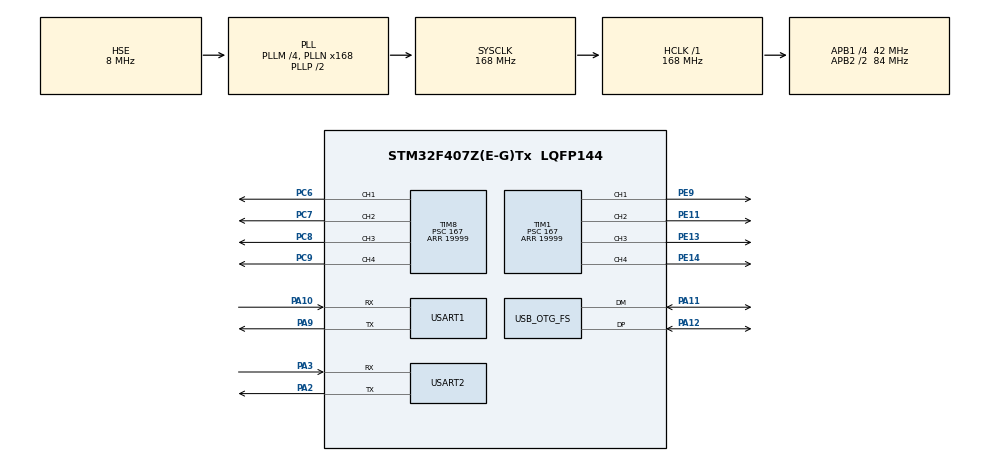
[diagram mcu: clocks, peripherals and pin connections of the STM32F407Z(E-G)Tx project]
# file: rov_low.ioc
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Mcu.Family=STM32F4
Mcu.Name=STM32F407Z(E-G)Tx
Mcu.Package=LQFP144
NVIC.OTG_FS_IRQn=true\:0\:0\:false\:false\:true\:false\:true\:true
NVIC.PriorityGroup=NVIC_PRIORITYGROUP_4
NVIC.TIM8_TRG_COM_TIM14_IRQn=true\:2\:0\:true\:false\:true\:true\:true\:true
NVIC.USART1_IRQn=true\:0\:0\:false\:false\:true\:true\:true\:true
NVIC.USART2_IRQn=true\:1\:0\:true\:false\:true\:true\:true\:true
PA10.Mode=Asynchronous
PA10.Signal=USART1_RX
PA11.Mode=Device_Only
PA11.Signal=USB_OTG_FS_DM
PA12.Mode=Device_Only
PA12.Signal=USB_OTG_FS_DP
PA13.Mode=Serial_Wire
PA13.Signal=SYS_JTMS-SWDIO
PA14.Mode=Serial_Wire
PA14.Signal=SYS_JTCK-SWCLK
PA2.Mode=Asynchronous
PA2.Signal=USART2_TX
PA3.Mode=Asynchronous
PA3.Signal=USART2_RX
PA9.Mode=Asynchronous
PA9.Signal=USART1_TX
PC14-OSC32_IN.Mode=LSE-External-Oscillator
PC14-OSC32_IN.Signal=RCC_OSC32_IN
PC15-OSC32_OUT.Mode=LSE-External-Oscillator
PC15-OSC32_OUT.Signal=RCC_OSC32_OUT
PC6.Signal=S_TIM8_CH1
PC7.Signal=S_TIM8_CH2
PC8.Signal=S_TIM8_CH3
PC9.Signal=S_TIM8_CH4
PE11.Signal=S_TIM1_CH2
PE13.Signal=S_TIM1_CH3
PE14.Signal=S_TIM1_CH4
PE9.Signal=S_TIM1_CH1
PH0-OSC_IN.Mode=HSE-External-Oscillator
PH0-OSC_IN.Signal=RCC_OSC_IN
PH1-OSC_OUT.Mode=HSE-External-Oscillator
PH1-OSC_OUT.Signal=RCC_OSC_OUT
ProjectManager.HeapSize=0x200
ProjectManager.StackSize=0x400
ProjectManager.TargetToolchain=MDK-ARM V5.32
RCC.48MHZClocksFreq_Value=48000000
RCC.AHBFreq_Value=168000000
RCC.APB1CLKDivider=RCC_HCLK_DIV4
RCC.APB1Freq_Value=42000000
RCC.APB1TimFreq_Value=84000000
RCC.APB2CLKDivider=RCC_HCLK_DIV2
RCC.APB2Freq_Value=84000000
RCC.APB2TimFreq_Value=168000000
RCC.CortexFreq_Value=168000000
RCC.HCLKFreq_Value=168000000
RCC.HSE_VALUE=8000000
RCC.HSI_VALUE=16000000
RCC.PLLM=4
RCC.PLLN=168
RCC.PLLQ=7
RCC.PLLSourceVirtual=RCC_PLLSOURCE_HSE
RCC.SYSCLKFreq_VALUE=168000000
RCC.SYSCLKSource=RCC_SYSCLKSOURCE_PLLCLK
RCC.VCOOutputFreq_Value=336000000
SH.S_TIM1_CH1.0=TIM1_CH1,PWM Generation1 CH1
SH.S_TIM1_CH2.0=TIM1_CH2,PWM Generation2 CH2
SH.S_TIM1_CH3.0=TIM1_CH3,PWM Generation3 CH3
SH.S_TIM1_CH4.0=TIM1_CH4,PWM Generation4 CH4
SH.S_TIM8_CH1.0=TIM8_CH1,PWM Generation1 CH1
SH.S_TIM8_CH2.0=TIM8_CH2,PWM Generation2 CH2
SH.S_TIM8_CH3.0=TIM8_CH3,PWM Generation3 CH3
SH.S_TIM8_CH4.0=TIM8_CH4,PWM Generation4 CH4
TIM1.Channel-PWM\ Generation1\ CH1=TIM_CHANNEL_1
TIM1.Channel-PWM\ Generation2\ CH2=TIM_CHANNEL_2
TIM1.Channel-PWM\ Generation3\ CH3=TIM_CHANNEL_3
TIM1.Channel-PWM\ Generation4\ CH4=TIM_CHANNEL_4
TIM1.Period=19999
TIM1.Prescaler=167
TIM14.Channel=TIM_CHANNEL_1
TIM14.Period=1000-1
TIM14.Prescaler=840-1
TIM6.Period=4999
TIM6.Prescaler=167
TIM8.Channel-PWM\ Generation1\ CH1=TIM_CHANNEL_1
TIM8.Channel-PWM\ Generation2\ CH2=TIM_CHANNEL_2
TIM8.Channel-PWM\ Generation3\ CH3=TIM_CHANNEL_3
TIM8.Channel-PWM\ Generation4\ CH4=TIM_CHANNEL_4
TIM8.Period=19999
TIM8.Prescaler=167
USART1.VirtualMode=VM_ASYNC
USART2.VirtualMode=VM_ASYNC
USB_DEVICE.CLASS_NAME_FS=CDC
USB_DEVICE.VirtualMode-CDC_FS=Cdc
USB_DEVICE.VirtualModeFS=Cdc_FS
USB_OTG_FS.VirtualMode=Device_Only
VP_TIM14_VS_ClockSourceINT.Mode=Enable_Timer
VP_TIM14_VS_no_output1.Mode=Output Compare1 No Output
VP_TIM6_VS_ClockSourceINT.Mode=Enable_Timer
VP_USB_DEVICE_VS_USB_DEVICE_CDC_FS.Mode=CDC_FS
board=custom

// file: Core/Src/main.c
/* USER CODE BEGIN Header */
/**
  ******************************************************************************
  * @file           : main.c
  * @brief          : Main program body
  ******************************************************************************
  * @attention
  *
  * Copyright (c) 2026 STMicroelectronics.
  * All rights reserved.
  *
  * This software is licensed under terms that can be found in the LICENSE file
  * in the root directory of this software component.
  * If no LICENSE file comes with this software, it is provided AS-IS.
  *
  ******************************************************************************
  */
/* USER CODE END Header */
#include "main.h"
#include "tim.h"
#include "usart.h"
#include "usb_device.h"
#include "gpio.h"

/* USER CODE BEGIN Includes */
#include "HWTAPP.h"
#include "pwm.h"
#include "communication.h"
/* USER CODE END Includes */

/* USER CODE BEGIN PV */
extern uint16_t vertPWM[4];
/* USER CODE END PV */

void SystemClock_Config(void);

int main(void)
{

  /* MCU Configuration--------------------------------------------------------*/

  /* Reset of all peripherals, Initializes the Flash interface and the Systick. */
  HAL_Init();

  /* Configure the system clock */
  SystemClock_Config();

  /* Initialize all configured peripherals */
  MX_GPIO_Init();
  MX_USART2_UART_Init();
  MX_USART1_UART_Init();
  MX_TIM14_Init();
  MX_USB_DEVICE_Init();
  MX_TIM1_Init();
  MX_TIM6_Init();
  MX_TIM8_Init();
  /* USER CODE BEGIN 2 */
  HWT_Init();
  pid_init();
  Pwm_init();
  Target_reset();
  printf("\r\n[BOOT] HWT init done\r\n");
	printf("ok\r\n");
  /* USER CODE END 2 */

  /* Infinite loop */
  /* USER CODE BEGIN WHILE */
  while (1)
  {
    /*if(data_ready_flag){
        data_ready_flag = 0;
      printf("acc:%.3f %.3f %.3f gyro:%.3f %.3f %.3f angle:%.3f %.3f %.3f temp:%.1f\r\n",
                fAcc[0],fAcc[1],fAcc[2], fGyro[0],fGyro[1],fGyro[2],
                fAngle[0],fAngle[1],fAngle[2], fTemp);
    }*/
    code_analyze();
    action_all();
    if(PID_ready){
//printf("roll_pid:%.3f pitch_pid:%.3f yaw_pid:%.3f\r\n", RollOutPID.err[3], PitchOutPID.err[3], YawOutPID.err[3]);

			printf("pwm1:%d, pwm2:%d, pwm3:%d, pwm4:%d\r\n", vertPWM[0], vertPWM[1], vertPWM[2], vertPWM[3]);
			pid_correct();
		}
    /* USER CODE END WHILE */

  }
}

void SystemClock_Config(void)
{
  RCC_OscInitTypeDef RCC_OscInitStruct = {0};
  RCC_ClkInitTypeDef RCC_ClkInitStruct = {0};

  /** Configure the main internal regulator output voltage
  */
  __HAL_RCC_PWR_CLK_ENABLE();
  __HAL_PWR_VOLTAGESCALING_CONFIG(PWR_REGULATOR_VOLTAGE_SCALE1);

  /** Initializes the RCC Oscillators according to the specified parameters
  * in the RCC_OscInitTypeDef structure.
  */
  RCC_OscInitStruct.OscillatorType = RCC_OSCILLATORTYPE_HSE;
  RCC_OscInitStruct.HSEState = RCC_HSE_ON;
  RCC_OscInitStruct.PLL.PLLState = RCC_PLL_ON;
  RCC_OscInitStruct.PLL.PLLSource = RCC_PLLSOURCE_HSE;
  RCC_OscInitStruct.PLL.PLLM = 4;
  RCC_OscInitStruct.PLL.PLLN = 168;
  RCC_OscInitStruct.PLL.PLLP = RCC_PLLP_DIV2;
  RCC_OscInitStruct.PLL.PLLQ = 7;
  if (HAL_RCC_OscConfig(&RCC_OscInitStruct) != HAL_OK)
  {
    Error_Handler();
  }

  /** Initializes the CPU, AHB and APB buses clocks
  */
  RCC_ClkInitStruct.ClockType = RCC_CLOCKTYPE_HCLK|RCC_CLOCKTYPE_SYSCLK
                              |RCC_CLOCKTYPE_PCLK1|RCC_CLOCKTYPE_PCLK2;
  RCC_ClkInitStruct.SYSCLKSource = RCC_SYSCLKSOURCE_PLLCLK;
  RCC_ClkInitStruct.AHBCLKDivider = RCC_SYSCLK_DIV1;
  RCC_ClkInitStruct.APB1CLKDivider = RCC_HCLK_DIV4;
  RCC_ClkInitStruct.APB2CLKDivider = RCC_HCLK_DIV2;

  if (HAL_RCC_ClockConfig(&RCC_ClkInitStruct, FLASH_LATENCY_5) != HAL_OK)
  {
    Error_Handler();
  }
}

void Error_Handler(void)
{
  __disable_irq();
  while (1)
  {
  }
}
